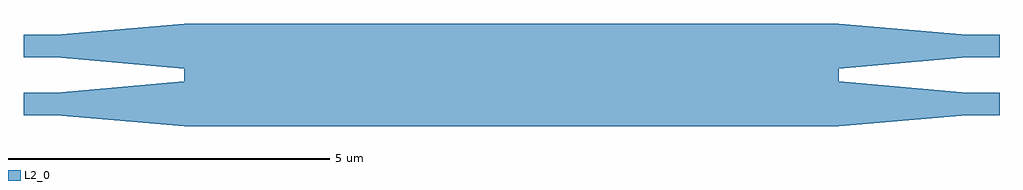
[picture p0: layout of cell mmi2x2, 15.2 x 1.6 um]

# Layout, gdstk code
import gdstk
lib = gdstk.Library(unit=1e-6, precision=1e-09)
def R(c, l, rs):  # rectangles x0, y0, x1, y1
    for r in rs: c.add(gdstk.rectangle(r[:2], r[2:], *l))
def P(c, l, *ps):  # polygons
    for p in ps: c.add(gdstk.Polygon(p, *l))
L2_0 = (2, 0)

mmi2x2 = lib.new_cell('mmi2x2')
R(mmi2x2, L2_0, [(-5.1,-0.8,5.1,0.8), (-7.6,-0.625,-7.1,-0.275), (7.1,-0.625,7.6,-0.275), (-7.6,0.275,-7.1,0.625), (7.1,0.275,7.6,0.625)])
P(mmi2x2, L2_0, [(5.1,-0.8),(5.1,-0.1),(7.1,-0.275),(7.1,-0.625)],
  [(5.1,0.1),(5.1,0.8),(7.1,0.625),(7.1,0.275)],
  [(-5.1,-0.8),(-7.1,-0.625),(-7.1,-0.275),(-5.1,-0.1)],
  [(-5.1,0.1),(-7.1,0.275),(-7.1,0.625),(-5.1,0.8)])

lib.write_gds('mmi2x2.gds')
